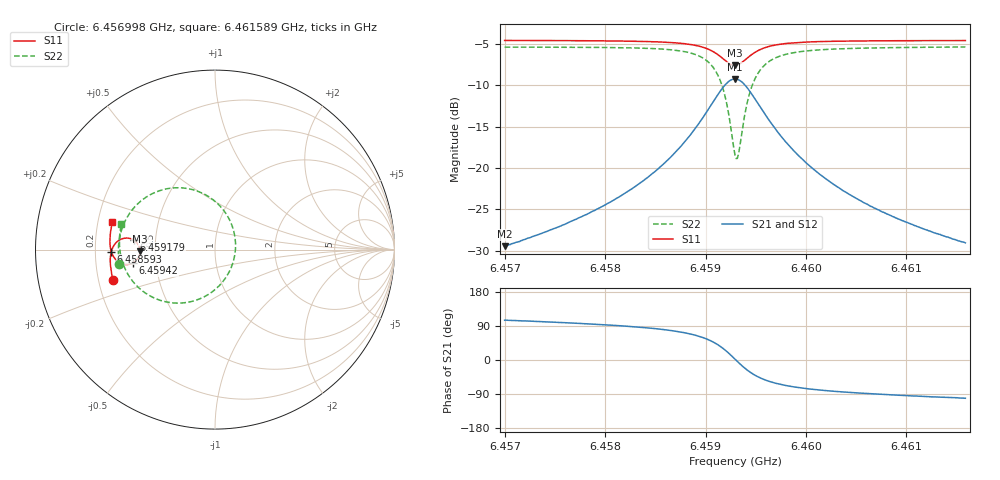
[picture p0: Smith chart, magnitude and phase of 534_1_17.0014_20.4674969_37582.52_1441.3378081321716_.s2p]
#  HZ  S  RI  R  50.00
! Rohde & Schwarz Vector Network Analyzer
! Rohde-Schwarz,ZNB20-2Port,1311601062101988,3.16
! Created: UTC 3/20/2024, 11:16:01 PM
! freq[Hz]  re:S11  im:S11  re:S21  im:S21  re:S12  im:S12  re:S22  im:S22
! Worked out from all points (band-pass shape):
!   401 points, 6.456998 GHz to 6.461589 GHz, reference 50 ohm
!   highest |S21| = -9.21 dB at 6.459293 GHz (marker M1); lowest = -29.5 dB at 6.456998 GHz (marker M2)
!   |S21| within 3 dB of the highest: 6.459064 GHz to 6.459523 GHz (459.5 kHz wide, 0.00711 % of centre)
!   lowest |S11| = -7.6 dB at 6.459293 GHz (marker M3), VSWR 2.44, Z = 20.5 - j0.463 ohm
!   |S11| at or under -10 dB: nowhere
!   |S22| runs from -18.8 to -5.3 dB; largest |S21 - S12| = 0.014
!   S11 on the Smith chart (normalised r, x): 6.456998 GHz: 0.26, -0.14; 6.458593 GHz: 0.27, -0.01; 6.459179 GHz: 0.37, +0.05; 6.45942 GHz: 0.37, -0.07; 6.461589 GHz: 0.26, +0.12
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6.4569983e9  -0.5671 -0.1706  -0.00866 0.0325  -0.00703 0.0326  -0.5331 -0.0829
6.4577672e9  -0.581 -0.1033  -0.00561 0.0505  -0.00294 0.0499  -0.5382 0.00711
6.4581918e9  -0.5837 -0.0608  0.000537 0.07  0.00377 0.0687  -0.5298 0.0747
6.4585361e9  -0.5798 -0.0194  0.0146 0.0988  0.0184 0.0962  -0.504 0.1526
6.4585935e9  -0.578 -0.0116  0.0188 0.1058  0.023 0.1028  -0.496 0.1691
6.4588e9  -0.5648 0.0205  0.0465 0.1383  0.0507 0.1333  -0.4439 0.2419
6.4589492e9  -0.5421 0.0467  0.0921 0.1688  0.0952 0.1621  -0.3601 0.3062
6.4590869e9  -0.4982 0.0642  0.1795 0.1851  0.1803 0.1778  -0.1999 0.3445
6.4591787e9  -0.4537 0.0538  0.2694 0.1537  0.2696 0.1478  -0.0331 0.2937
6.4592476e9  -0.4246 0.0218  0.33 0.0817  0.3321 0.0762  0.0824 0.1634
6.4592935e9  -0.4178 -0.00931  0.3462 0.0135  0.35 0.00645  0.1145 0.0359
6.459305e9  -0.4183 -0.0175  0.3459 -0.00442  0.3498 -0.0121  0.1142 0.00234
6.4593279e9  -0.4217 -0.0331  0.3402 -0.0393  0.3442 -0.0482  0.1029 -0.0638
6.4593738e9  -0.4373 -0.0591  0.3117 -0.0992  0.3139 -0.1111  0.0445 -0.1772
6.4594197e9  -0.4595 -0.0755  0.2694 -0.1403  0.2685 -0.1535  -0.041 -0.2522
6.4595115e9  -0.5029 -0.0823  0.1842 -0.1714  0.1782 -0.183  -0.2106 -0.2981
6.4596607e9  -0.5467 -0.0617  0.0962 -0.1572  0.0877 -0.1635  -0.3789 -0.2481
6.4598214e9  -0.5682 -0.034  0.0512 -0.1291  0.0436 -0.132  -0.4594 -0.1757
6.4600624e9  -0.5809 0.0015  0.0221 -0.0976  0.0163 -0.0981  -0.5073 -0.0926
6.4604066e9  -0.5855 0.0425  0.00616 -0.0705  0.00209 -0.0701  -0.5287 -0.0134
6.4608312e9  -0.5835 0.0852  -0.0015 -0.052  -0.00441 -0.0511  -0.5326 0.055
6.4615886e9  -0.5713 0.1524  -0.00671 -0.0346  -0.00835 -0.0338  -0.5211 0.1446
